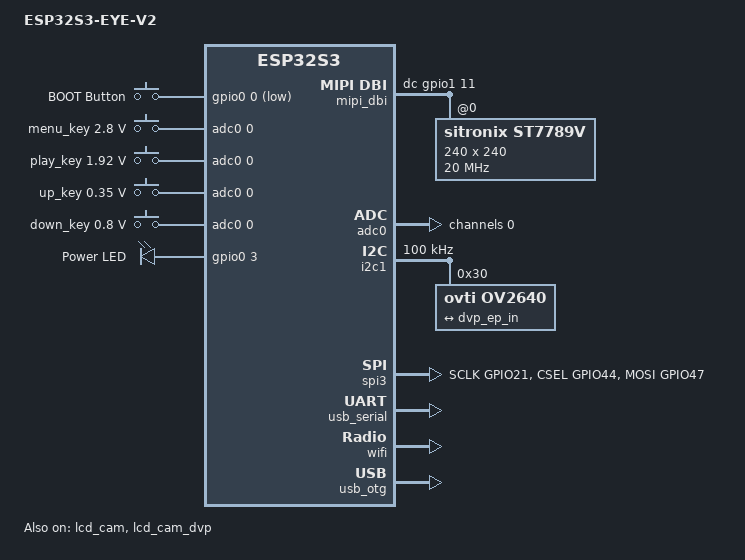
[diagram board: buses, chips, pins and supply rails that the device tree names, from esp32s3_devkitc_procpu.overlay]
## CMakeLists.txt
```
cmake_minimum_required(VERSION 3.20.0)

find_package(Zephyr REQUIRED HINTS $ENV{ZEPHYR_BASE})

project(zephyr-esp32-eye-board)

target_sources(app PRIVATE
    
    src/camera.c
    src/display.c
    src/events.c
    src/led.c
    src/main.c
    src/msgq.c
    src/sntp.c
    src/wifi.c
)

target_include_directories(app PRIVATE

)
```

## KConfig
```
mainmenu "Network Wi-Fi apsta_mode application"

config WIFI_SAMPLE_SSID "Apto_1404"
config WIFI_SAMPLE_PSK  "zurick1140"

source "Kconfig.zephyr"
```

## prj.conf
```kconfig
# ADC configuration
CONFIG_ADC=y
CONFIG_INPUT=y
CONFIG_INPUT_ADC_KEYS=y

# DMA configuration
CONFIG_DMA=y
CONFIG_DMA_ESP32_MAX_DESCRIPTOR_NUM=40

# Debug configuration
CONFIG_DEBUG=y
CONFIG_PRINTK=y
# CONFIG_SHELL=y
# CONFIG_KERNEL_SHELL=y
# CONFIG_SHELL_STACK_SIZE=3072

# Display configuration
CONFIG_DISPLAY=y
CONFIG_ST7789V=y
CONFIG_MIPI_DBI=y
CONFIG_SPI=y

# DNS configuration
CONFIG_DNS_RESOLVER=y
CONFIG_DNS_SERVER_IP_ADDRESSES=y
CONFIG_DNS_SERVER1="8.8.8.8"
CONFIG_DNS_SERVER2="1.1.1.1"
CONFIG_DNS_NUM_CONCUR_QUERIES=3

# Events configuration
CONFIG_EVENTS=y

# GPIO configuration
CONFIG_GPIO=y

# I2C configuration
CONFIG_I2C=y

# Heap configuration
CONFIG_HEAP_MEM_POOL_SIZE=56384

# Log configuration
CONFIG_LOG=y
CONFIG_LOG_DEFAULT_LEVEL=3

# LVGL configuration
CONFIG_LVGL=y
CONFIG_LV_USE_LABEL=y
CONFIG_LV_USE_ARC=y
CONFIG_LV_FONT_MONTSERRAT_16=y
CONFIG_LV_Z_MEM_POOL_SIZE=16384
CONFIG_LV_Z_VDB_SIZE=10

# Network configuration
CONFIG_NETWORKING=y
CONFIG_NET_CONFIG_AUTO_INIT=n
CONFIG_NET_CONNECTION_MANAGER=y
CONFIG_NET_DHCPV4=y
CONFIG_NET_IF_MAX_IPV4_COUNT=2
CONFIG_NET_IF_MAX_IPV6_COUNT=2
CONFIG_NET_IPV4=y
CONFIG_NET_L2_WIFI_MGMT=y
CONFIG_NET_MGMT=y
CONFIG_NET_MGMT_EVENT=y
CONFIG_NET_MGMT_EVENT_INFO=y
CONFIG_NET_MGMT_EVENT_QUEUE_SIZE=4
CONFIG_NET_MGMT_EVENT_STACK_SIZE=4096
CONFIG_NET_PKT_RX_COUNT=8
CONFIG_NET_PKT_TX_COUNT=8
CONFIG_NET_SOCKETS=y
CONFIG_NET_SOCKETS_SERVICE_STACK_SIZE=2048
CONFIG_NET_UDP=y
CONFIG_NET_TCP=y
CONFIG_NET_TCP_WORKQ_STACK_SIZE=1024     

# SPIRAM configuration
CONFIG_ESP_SPIRAM=y
CONFIG_SHARED_MULTI_HEAP=y
CONFIG_SPIRAM_MODE_OCT=y
CONFIG_SPIRAM_SPEED_80M=y
CONFIG_ESP32S3_DATA_CACHE_64KB=y
CONFIG_ESP_SPIRAM_MEMTEST=y
CONFIG_ESP32_WIFI_NET_ALLOC_SPIRAM=y
CONFIG_ESP_WIFI_HEAP_SPIRAM=y
CONFIG_ESP32_WIFI_NET_ALLOC_SPIRAM=y
CONFIG_SPIRAM_TRY_ALLOCATE_WIFI_LWIP=y

# SNTP configuration
CONFIG_SNTP=y
CONFIG_POSIX_API=y

# UART configuration
CONFIG_CONSOLE=y
CONFIG_UART_CONSOLE=y
CONFIG_SERIAL=y

# Video configuration
CONFIG_VIDEO=y
CONFIG_VIDEO_OV2640=y
CONFIG_VIDEO_BUFFER_POOL_ALIGN=32
CONFIG_VIDEO_BUFFER_POOL_NUM_MAX=1
CONFIG_VIDEO_BUFFER_POOL_HEAP_SIZE=159744

# WiFi configuration
CONFIG_WIFI=y
CONFIG_WIFI_NM=y
CONFIG_WIFI_USAGE_MODE_STA=y
```

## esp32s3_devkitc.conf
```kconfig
CONFIG_ESP32_WIFI_STA_AUTO_DHCPV4=y
CONFIG_ESP_WIFI_HEAP_SYSTEM=y
```

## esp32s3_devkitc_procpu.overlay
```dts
#include <zephyr/dt-bindings/gpio/gpio.h>
#include <zephyr/dt-bindings/input/input-event-codes.h>
#include <zephyr/dt-bindings/adc/adc.h>
#include <zephyr/dt-bindings/mipi_dbi/mipi_dbi.h>
#include <zephyr/dt-bindings/display/panel.h>
#include <zephyr/dt-bindings/i2c/i2c.h>
#include <dt-bindings/pinctrl/esp32s3-pinctrl.h>

/ {

	model = "ESP32S3-EYE-V2";
    compatible = "espressif,esp32s3";

	aliases {
		led0 = &power_led;
		sw0  = &boot_button;
	};

	chosen {
		zephyr,sram = &sram1;
		zephyr,console = &usb_serial;
		zephyr,shell-uart = &usb_serial;
		zephyr,flash = &flash0;
		zephyr,code-partition = &slot0_partition;
		zephyr,display = &st7789v;
		zephyr,camera = &lcd_cam_dvp;
	};


	buttons {
		compatible = "gpio-keys";
		boot_button: button_0 {
			gpios = <&gpio0 0 (GPIO_PULL_UP | GPIO_ACTIVE_LOW)>;
			label = "BOOT Button";
		};
	};

	adc_keys: adc-keys {
		compatible = "adc-keys";
		io-channels = <&adc0 0>;
		keyup-threshold-mv = <3300>;
		sample-period-ms = <50>;

		menu_key: key_menu {
			press-thresholds-mv = <2800>;
			zephyr,code = <INPUT_KEY_MENU>;
		};
		play_key: key_play {
			press-thresholds-mv = <1920>;
			zephyr,code = <INPUT_KEY_PLAY>;
		};
		up_key: key_up {
			press-thresholds-mv = <350>;
			zephyr,code = <INPUT_KEY_UP>;
		};
		down_key: key_down {
			press-thresholds-mv = <800>;
			zephyr,code = <INPUT_KEY_DOWN>;
		};
	};

	leds {
		compatible = "gpio-leds";
		power_led: led_0 {
			/* GPIO3 must be open-drain — driving high will burn the LED */
			gpios = <&gpio0 3 GPIO_OPEN_DRAIN>;
			label = "Power LED";
		};
	};
	
	mipi_dbi {
		compatible = "zephyr,mipi-dbi-spi";
		dc-gpios = <&gpio1 11 GPIO_ACTIVE_HIGH>;
		spi-dev = <&spi3>;
		write-only;
		#address-cells = <1>;
		#size-cells = <0>;

		st7789v: st7789v@0 {
			compatible = "sitronix,st7789v";
			mipi-max-frequency = <20000000>;
			reg = <0>;
			width = <240>;
			height = <240>;
			x-offset = <0>;
			y-offset = <0>;
			vcom = <0x19>;
			gctrl = <0x35>;
			vrhs = <0x12>;
			vdvs = <0x20>;
			mdac = <0x00>;
			gamma = <0x01>;
			pixel-format = <PANEL_PIXEL_FORMAT_RGB_565>;
			lcm = <0x2c>;
			porch-param = [0c 0c 00 33 33];
			cmd2en-param = [5a 69 02 01];
			pwctrl1-param = [a4 a1];
			pvgam-param = [d0 04 0d 11 13 2b 3f 54 4c 18 0d 0b 1f 23];
			nvgam-param = [d0 04 0c 11 13 2c 3f 44 51 2f 1f 1f 20 23];
			ram-param = [00 f0];
			rgb-param = [cd 08 14];
			mipi-mode = "MIPI_DBI_MODE_SPI_4WIRE";
		};
	};
};

&adc0 {
	status = "okay";
	#address-cells = <1>;
	#size-cells = <0>;

	/* GPIO1 = ADC1_CH0 — resistor ladder for function keys */
	channel@0 {
		reg = <0>;
		zephyr,gain             = "ADC_GAIN_1_4";
		zephyr,reference        = "ADC_REF_INTERNAL";
		zephyr,acquisition-time = <ADC_ACQ_TIME_DEFAULT>;
		zephyr,resolution       = <12>;
	};
};

&dma {
	status = "okay";
};

&gpio0 { 
	status = "okay"; 
};  

&gpio1 { 
	status = "okay"; 
};  

&i2c1 {
	status = "okay";
	clock-frequency = <I2C_BITRATE_STANDARD>;
	pinctrl-0 = <&i2c1_default>;
	pinctrl-names = "default";

	ov2640: ov2640@30 {
		compatible = "ovti,ov2640";
		reg = <0x30>;
		status = "okay";
		clock-rate-control = <0x80>;

		port {
			ov2640_ep_out: endpoint {
				remote-endpoint = <&dvp_ep_in>;
			};
		};
	};
};

&lcd_cam {
	status = "okay";
	pinctrl-0 = <&lcd_cam_default>;
	pinctrl-names = "default";
};

&lcd_cam_dvp {
	status = "okay";
	cam-clk = <10000000>;
	source = <&ov2640>;

	port {
		dvp_ep_in: endpoint {
			remote-endpoint = <&ov2640_ep_out>;
		};
	};
};

&pinctrl {
	i2c1_default: i2c1_default {
		group1 {
			pinmux = <I2C1_SDA_GPIO4>,
				 <I2C1_SCL_GPIO5>;
			bias-pull-up;
			drive-open-drain;
			output-high;
		};
	};

	spim3_default: spim3_default {
		group1 {
			pinmux = <SPIM3_SCLK_GPIO21>,
				 <SPIM3_CSEL_GPIO44>;
		};

		group2 {
			pinmux = <SPIM3_MOSI_GPIO47>;
			output-low;
		};
	};

	lcd_cam_default: lcd_cam_default {
		group1 {
			pinmux = <LCD_CAM_CAM_CLK_GPIO15>;
			output-enable;
		};

		group2 {
			pinmux = <LCD_CAM_V_SYNC_CAM_GPIO6>,
				 <LCD_CAM_H_ENABLE_CAM_GPIO7>,
				 <LCD_CAM_CAM_PCLK_GPIO13>,
				 <LCD_CAM_DATA_IN0_GPIO11>,
				 <LCD_CAM_DATA_IN1_GPIO9>,
				 <LCD_CAM_DATA_IN2_GPIO8>,
				 <LCD_CAM_DATA_IN3_GPIO10>,
				 <LCD_CAM_DATA_IN4_GPIO12>,
				 <LCD_CAM_DATA_IN5_GPIO18>,
				 <LCD_CAM_DATA_IN6_GPIO17>,
				 <LCD_CAM_DATA_IN7_GPIO16>;
			input-enable;
			bias-disable;
		};
	};

	sdhc0_default: sdhc0_default {
		group1 {
			pinmux = <SDHC0_CMD_GPIO38>,
				 <SDHC0_CLKOUT_GPIO39>,
				 <SDHC0_DATA0_GPIO40>;
			bias-pull-up;
			output-high;
		};
	};
};

&psram0 {
  size = <DT_SIZE_M(8)>;
};

&spi3 {                        
    status = "okay";
    #address-cells = <1>;
    #size-cells = <0>;
    pinctrl-0 = <&spim3_default>;
    pinctrl-names = "default";
};

&uart0 {
	status = "disabled";
};

&usb_serial {
	status = "okay";
};

&wifi {
    status = "okay";
};

zephyr_udc0: &usb_otg {
	status = "okay";
};
```

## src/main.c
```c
#include <zephyr/kernel.h>
#include <zephyr/drivers/gpio.h>
#include <zephyr/input/input.h>
#include <zephyr/logging/log.h>

#include "led.h"

static void on_key_event(struct input_event *evt, void *user_data);

LOG_MODULE_REGISTER(main, LOG_LEVEL_INF);

INPUT_CALLBACK_DEFINE(DEVICE_DT_GET(DT_NODELABEL(adc_keys)), on_key_event, NULL);

int main(void){

	LOG_INF("ESP32-S3-EYE started");
    
    led_init();

    while(1){

		k_sleep(K_SECONDS(1));
	}

	return 0;
}

static void on_key_event(struct input_event *evt, void *user_data){

    if (evt->type != INPUT_EV_KEY || evt->value == 0) {
        
        return; 
    }

    switch (evt->code) {
        
        case INPUT_KEY_MENU: 
            LOG_INF("MENU pressed");  
        break;
        
        case INPUT_KEY_PLAY: 
            LOG_INF("PLAY pressed");  
        break;
        
        case INPUT_KEY_UP:   
            LOG_INF("UP pressed");    
        break;
        
        case INPUT_KEY_DOWN: 
            LOG_INF("DOWN pressed");  
        break;
    }
}
```

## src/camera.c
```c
#include "camera.h"
#include <zephyr/device.h>
#include <zephyr/drivers/video.h>
#include <zephyr/drivers/video-controls.h>
#include <zephyr/logging/log.h>

LOG_MODULE_REGISTER(camera, LOG_LEVEL_INF);

/* Buffer na PSRAM */
static uint8_t __attribute__((section(".ext_ram.bss"), aligned(CONFIG_VIDEO_BUFFER_POOL_ALIGN))) psram_frame[MAX_FRAME_SIZE];

K_MSGQ_DEFINE(frame_queue, sizeof(struct frame_msg), 1, 4);

static struct video_format fmt = {};

const struct device *camera_init(){

    const struct device *video_dev;
    enum video_buf_type type = VIDEO_BUF_TYPE_OUTPUT;
    struct video_buffer *buffers[1];
    int i = 0;

    /* Starting the device */
    video_dev = DEVICE_DT_GET(DT_CHOSEN(zephyr_camera));
    if (!device_is_ready(video_dev)) {
        
        LOG_ERR("Camera not ready");
        return NULL;
    }
    LOG_INF("Camera: %s", video_dev->name);

    /* Configuring the format RGB565 320x240 */
	fmt.type = type;
	if (video_get_format(video_dev, &fmt)) {
		LOG_ERR("Unable to retrieve video format");
		return 0;
	}

    fmt.width = CAM_WIDTH;
	fmt.height = CAM_HEIGHT;
	fmt.pixelformat = VIDEO_PIX_FMT_RGB565;

    if (video_set_format(video_dev, &fmt)) {
		return 0;
	}

	LOG_INF("Format: %c%c%c%c %ux%u %u", (char)fmt.pixelformat, (char)(fmt.pixelformat >> 8),
		(char)(fmt.pixelformat >> 16), (char)(fmt.pixelformat >> 24), fmt.width, fmt.height,
		fmt.pitch);


    /* Allocating the video buffer */
    for (i = 0; i < ARRAY_SIZE(buffers); i++) {
		
        buffers[i] = video_buffer_aligned_alloc(fmt.size, CONFIG_VIDEO_BUFFER_POOL_ALIGN, K_NO_WAIT);
		
        if (buffers[i] == NULL) {
			LOG_ERR("Unable to alloc video buffer");
			return 0;
		}
		
        buffers[i]->type = type;
		video_enqueue(video_dev, buffers[i]);
	}

    if (video_stream_start(video_dev, type)) {
		LOG_ERR("Unable to start capture (interface)");
		return 0;
	}

    LOG_INF("Stream started");
    return video_dev;
}

void camera_thread(){

    const struct device *video_dev = camera_init();

    struct video_buffer *vbuf;

    struct frame_msg msg;

    struct video_control rotate_video_ctrl = {
        .id  = VIDEO_CID_VFLIP,
        .val = 1
    };
    video_set_ctrl(video_dev, &rotate_video_ctrl);

    while (1) {

        if (video_dequeue(video_dev, &vbuf, K_MSEC(1000))) {
            LOG_WRN("Timeout");
            continue;
        }

        memcpy(psram_frame, vbuf->buffer, vbuf->bytesused);

        vbuf->bytesused = 0;
        video_enqueue(video_dev, vbuf);

        // LOG_INF("Frame: %u bytes", vbuf->bytesused);

        video_enqueue(video_dev, vbuf);

        msg.data = psram_frame;
        msg.size = MAX_FRAME_SIZE;
        k_msgq_put(&frame_queue, &msg, K_NO_WAIT);
    }
}

static Z_KERNEL_STACK_DEFINE_IN(camera_stack, 4096, __attribute__((section(".ext_ram.bss"))));

static struct k_thread camera_thread_data;
k_tid_t camera_tid;

static int camera_thread_init(void){

    camera_tid = k_thread_create(
        &camera_thread_data,
        camera_stack,
        K_THREAD_STACK_SIZEOF(camera_stack),
        camera_thread,
        NULL, NULL, NULL,
        5, 0, K_NO_WAIT
    );

    k_thread_name_set(camera_tid, "camera_tid");

    return 0;
}

SYS_INIT(camera_thread_init, APPLICATION, CONFIG_APPLICATION_INIT_PRIORITY);
```

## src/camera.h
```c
#ifndef _CAMERA_H_
#define _CAMERA_H_

#include <zephyr/kernel.h>

#define CAM_WIDTH   320
#define CAM_HEIGHT  240
#define MAX_FRAME_SIZE (CAM_WIDTH * CAM_HEIGHT * 2)

struct frame_msg {

    uint8_t *data;   
    size_t size;
};

extern struct k_msgq frame_queue;

#endif
```

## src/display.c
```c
#include <zephyr/drivers/display.h>
#include <zephyr/logging/log.h>
#include <lvgl.h>

#include "camera.h"
#include "events.h"
#include "msgq.h"
#include "sntp.h"

LOG_MODULE_REGISTER(display, LOG_LEVEL_INF);

static uint8_t __attribute__((section(".ext_ram.bss"), aligned(CONFIG_VIDEO_BUFFER_POOL_ALIGN))) canvas_buf[CAM_WIDTH * CAM_HEIGHT * 2];

static const struct device *display;
static struct display_capabilities caps;

static lv_obj_t *canvas;
static lv_obj_t *status_bar;
static lv_obj_t *time_label;
static lv_obj_t *wifi_icon;
static lv_obj_t *ssid_label;

static struct k_timer timer_update;

static void ui_init();
static void ui_set_wifi();
static void ui_set_time(uint8_t hour, uint8_t minute, uint8_t second);

static void timer_update_handler(struct k_timer *timer);

void display_thread(){

    struct frame_msg msg;

    ui_init();
    
    k_timer_init(&timer_update, timer_update_handler, NULL);
    k_timer_start(&timer_update, K_SECONDS(1), K_SECONDS(1));

    while(1){
        
        ui_set_wifi();

        uint32_t events = k_event_wait(&app_events, EVENT_SNTP_SYNCED | EVENT_TIME_UPDATE, false, K_NO_WAIT);

        if((events & EVENT_SNTP_SYNCED) && (events & EVENT_TIME_UPDATE)){

            sntp_msg_t msg = sntp_get_current_time();
            ui_set_time(msg.hour, msg.min, msg.sec);

            k_event_clear(&app_events, EVENT_TIME_UPDATE);
        }

        if (!k_msgq_get(&frame_queue, &msg, K_NO_WAIT)) {

            LOG_INF("Camera frame received: %u bytes", msg.size);

            /* Cria canvas uma única vez */
            if (canvas == NULL) {
                canvas = lv_canvas_create(lv_scr_act());
                lv_canvas_set_buffer(canvas, canvas_buf,
                                    CAM_WIDTH, CAM_HEIGHT,
                                    LV_COLOR_FORMAT_RGB565);
                lv_obj_align_to(canvas, status_bar, LV_ALIGN_OUT_BOTTOM_MID, 0,
                (216 - CAM_HEIGHT) / 2);  /* centraliza no espaço restante */
            }

            memcpy(canvas_buf, msg.data, msg.size);
            lv_obj_invalidate(canvas);
            
        }

        lv_task_handler();        

        k_msleep(10);
    }
}

static void ui_init(){

    display = DEVICE_DT_GET(DT_CHOSEN(zephyr_display));

    if (!device_is_ready(display)) {
        
        LOG_ERR("Display not found: %s", display->name);
        return;
    }

    display_get_capabilities(display, &caps);
    
    LOG_INF("Device name: %s", display->name);
    LOG_INF("Resolution: %dx%d", caps.x_resolution, caps.y_resolution);

    display_blanking_off(display);

    /* Background */
    lv_obj_set_style_bg_color(lv_scr_act(), lv_color_hex(0xFFFFFF), LV_PART_MAIN);
    lv_obj_set_style_bg_opa(lv_scr_act(), LV_OPA_COVER, LV_PART_MAIN);

    /* Status bar */
    status_bar = lv_obj_create(lv_scr_act());
    lv_obj_set_size(status_bar, 240, 24);
    lv_obj_align(status_bar, LV_ALIGN_TOP_MID, 0, 0);
    lv_obj_set_style_bg_color(status_bar, lv_color_hex(0x000000), LV_PART_MAIN);
    lv_obj_set_style_bg_opa(status_bar, LV_OPA_COVER, LV_PART_MAIN);
    lv_obj_set_style_border_width(status_bar, 0, LV_PART_MAIN);
    lv_obj_set_style_radius(status_bar, 0, LV_PART_MAIN);
    lv_obj_set_style_pad_all(status_bar, 0, LV_PART_MAIN);

    /* Hora — esquerda */
    time_label = lv_label_create(status_bar);
    lv_obj_set_style_text_color(time_label, lv_color_hex(0xFFFFFF), LV_PART_MAIN);
    lv_obj_set_style_text_font(time_label, &lv_font_montserrat_16, LV_PART_MAIN);
    lv_obj_align(time_label, LV_ALIGN_LEFT_MID, 6, 0);
    lv_label_set_text(time_label, "");

    /* Ícone WiFi — direita */
    wifi_icon = lv_label_create(status_bar);
    lv_obj_set_style_text_color(wifi_icon, lv_color_hex(0x000000), LV_PART_MAIN);
    lv_obj_set_style_text_font(wifi_icon, &lv_font_montserrat_16, LV_PART_MAIN);
    lv_obj_align(wifi_icon, LV_ALIGN_RIGHT_MID, -6, 0);
    lv_label_set_text(wifi_icon, LV_SYMBOL_WIFI);

    /* Nome da rede — ao lado do ícone */
    ssid_label = lv_label_create(status_bar);
    lv_obj_set_style_text_color(ssid_label, lv_color_hex(0xFFFFFF), LV_PART_MAIN);
    lv_obj_set_style_text_font(ssid_label, &lv_font_montserrat_16, LV_PART_MAIN);
    lv_obj_align_to(ssid_label, wifi_icon, LV_ALIGN_OUT_LEFT_MID, -4, 0);
    lv_label_set_text(ssid_label, "");
}

void ui_set_wifi(){

    wifi_msg_t wifi_msg;

    if(k_msgq_get(&wifi_msgq, &wifi_msg, K_NO_WAIT) == 0){

        if(wifi_msg.type == WIFI_MSG_CONNECTED){

            lv_obj_set_style_text_color(wifi_icon, lv_color_hex(0xFFFFFF), LV_PART_MAIN);  
            lv_obj_set_style_text_color(ssid_label, lv_color_hex(0xFFFFFF), LV_PART_MAIN);
            lv_label_set_text(ssid_label, wifi_msg.ssid);
            
        } else {

            lv_obj_set_style_text_color(wifi_icon, lv_color_hex(0x000000), LV_PART_MAIN);  
            lv_obj_set_style_text_color(ssid_label, lv_color_hex(0x000000), LV_PART_MAIN);
            lv_label_set_text(ssid_label, "");
        }
    }

    lv_obj_align_to(ssid_label, wifi_icon, LV_ALIGN_OUT_LEFT_MID, -4, 0);
}

static void ui_set_time(uint8_t hour, uint8_t min, uint8_t second){

    char buf[14];
    
    snprintf(buf, sizeof(buf), "%02d:%02d:%02d", hour, min, second);
    
    lv_label_set_text(time_label, buf);
}

static void timer_update_handler(struct k_timer *timer){

    k_event_post(&app_events, EVENT_TIME_UPDATE);
}

static Z_KERNEL_STACK_DEFINE_IN(display_stack, 8192, __attribute__((section(".ext_ram.bss"))));

static struct k_thread display_thread_data;
k_tid_t display_tid;

static int display_thread_init(void){
    
    display_tid = k_thread_create(
        &display_thread_data,
        display_stack,
        K_THREAD_STACK_SIZEOF(display_stack),
        display_thread,
        NULL, NULL, NULL,
        8, 0, K_NO_WAIT
    );
    k_thread_name_set(display_tid, "display_tid");
    return 0;
}

SYS_INIT(display_thread_init, APPLICATION, CONFIG_APPLICATION_INIT_PRIORITY);
```

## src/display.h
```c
#ifndef _DISPLAY_H_
#define _DISPLAY_H_

void display_thread();

#endif
```

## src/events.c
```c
#include "events.h"

K_EVENT_DEFINE(app_events);
```

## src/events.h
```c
#ifndef _EVENTS_H_
#define _EVENTS_H_

#include <zephyr/kernel.h>

#define EVENT_SNTP_SYNCED       BIT(0)
#define EVENT_TIME_UPDATE       BIT(1)

extern struct k_event app_events;

#endif
```

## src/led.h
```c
#ifndef _LED_H_
#define _LED_H_

#include <zephyr/kernel.h>
#include <zephyr/drivers/gpio.h>
#include <zephyr/logging/log.h>

int led_init(void);

void led_off(void);

void led_on(void);

void led_toggle(void);

#endif
```

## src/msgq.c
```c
#include "msgq.h"

K_MSGQ_DEFINE(wifi_msgq, sizeof(wifi_msg_t), 4, 4);
```

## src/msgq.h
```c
#ifndef _MSGQ_H_
#define _MSGQ_H_

#define WIFI_SSID_MAX 33

#include <zephyr/kernel.h> 

typedef enum {
    
    WIFI_MSG_CONNECTED,
    WIFI_MSG_DISCONNECTED,

} wifi_msg_type_t;

typedef struct {
    
    wifi_msg_type_t type;
    char ssid[WIFI_SSID_MAX];

} wifi_msg_t;

extern struct k_msgq wifi_msgq;

#endif
```

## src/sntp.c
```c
#include "sntp.h"

#include <zephyr/logging/log.h>

#include <time.h>

#include "events.h"

LOG_MODULE_REGISTER(sntp, LOG_LEVEL_INF);

void sntp_sync_time(void){

    struct sntp_time sntp_time;
    int ret;

    LOG_INF("Sntp sync started");

    ret = sntp_simple("pool.ntp.org", 10000, &sntp_time);

    if (ret != 0) {

        LOG_WRN("DNS failed, trying again..");

        ret = sntp_simple("200.160.7.186", 10000, &sntp_time);
    }

    if (ret != 0) {

        LOG_ERR("SNTP failed: %d", ret);

        return;  
    }

    struct timespec ts = {

        .tv_sec  = (time_t)(sntp_time.seconds) + UTC_OFFSET_SECONDS,
        .tv_nsec = 0,
    };

    clock_settime(CLOCK_REALTIME, &ts);

    struct tm tm_info;
    gmtime_r(&ts.tv_sec, &tm_info);

    k_event_post(&app_events, EVENT_SNTP_SYNCED);

    char time_str[72];
    snprintf(time_str, sizeof(time_str), "%02d:%02d:%02d %02d/%02d/%04d", tm_info.tm_hour, tm_info.tm_min, tm_info.tm_sec, tm_info.tm_mday, tm_info.tm_mon + 1, tm_info.tm_year + 1900);
    
    LOG_INF("Sntp synchronized: %s", time_str);    
    
    return;
}

sntp_msg_t sntp_get_current_time(){

    sntp_msg_t msg;

    struct timespec ts;
    
    clock_gettime(CLOCK_REALTIME, &ts);

    struct tm *t = gmtime(&ts.tv_sec);
    msg.hour = t->tm_hour;
    msg.min = t->tm_min;
    msg.sec = t->tm_sec;

    return msg;
}
```

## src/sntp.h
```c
#ifndef _SNTP_H_
#define _SNTP_H_

#include <zephyr/net/sntp.h>

#define UTC_OFFSET_SECONDS  (-3 * 3600)  /* UTC-3 */

typedef struct {

    uint8_t hour;
    uint8_t min;
    uint8_t sec;

} sntp_msg_t;

void sntp_sync_time();

sntp_msg_t sntp_get_current_time();

#endif
```

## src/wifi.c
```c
#include <zephyr/kernel.h>
#include <zephyr/net/wifi_mgmt.h>
#include <zephyr/logging/log.h>

#include "msgq.h"
#include "sntp.h"

#define WIFI_SSID       "Apto_1404"
#define WIFI_PASSWORD   "zurick1140"

#define NET_EVENT_WIFI_MASK (NET_EVENT_WIFI_SCAN_RESULT | NET_EVENT_WIFI_SCAN_DONE | \
                             NET_EVENT_WIFI_CONNECT_RESULT | NET_EVENT_WIFI_DISCONNECT_RESULT | \
                             NET_EVENT_WIFI_AP_STA_CONNECTED | NET_EVENT_WIFI_AP_STA_DISCONNECTED | \
                             NET_EVENT_IPV4_DHCP_BOUND)

LOG_MODULE_REGISTER(wifi, LOG_LEVEL_INF);

static struct net_if *iface;

static struct wifi_connect_req_params sta_config;

static struct net_mgmt_event_callback wifi_cb;
static struct net_mgmt_event_callback ipv4_cb;

static void wifi_event_handler(struct net_mgmt_event_callback *cb, uint64_t mgmt_event, struct net_if *iface){

    if(mgmt_event == NET_EVENT_WIFI_SCAN_RESULT){

        const struct wifi_scan_result *result = (const struct wifi_scan_result *)cb->info;

        LOG_INF("SSID: %-32s RSSI: %d", result->ssid, result->rssi);

        k_msleep(10);

    } else if (mgmt_event == NET_EVENT_WIFI_DISCONNECT_RESULT) {

    
    } else if(mgmt_event == NET_EVENT_WIFI_SCAN_DONE){

        LOG_INF("Scan Finished");
    
    } else if(mgmt_event == NET_EVENT_WIFI_CONNECT_RESULT){

        struct wifi_iface_status status = {0};

        net_mgmt(NET_REQUEST_WIFI_IFACE_STATUS, iface, &status, sizeof(status));

        k_msleep(50);
        LOG_INF("Connected: %s", status.ssid);
        k_msleep(50);
        LOG_INF("BSSID: %02x:%02x:%02x:%02x:%02x:%02x", status.bssid[0], status.bssid[1], status.bssid[2], status.bssid[3], status.bssid[4], status.bssid[5]);
        k_msleep(50);        
    }
}

static void ipv4_event_handler(struct net_mgmt_event_callback *cb, uint64_t mgmt_event, struct net_if *iface){

    if (mgmt_event == NET_EVENT_IPV4_DHCP_BOUND) {

        struct net_if_ipv4 *ipv4 = iface->config.ip.ipv4;
        char ip_str[NET_IPV4_ADDR_LEN] = {};
        
        struct wifi_iface_status status = {};
        char buffer_ssid[WIFI_SSID_MAX] = {};

        wifi_msg_t msg = {};
        
        net_addr_ntop(AF_INET, &ipv4->unicast[0].ipv4.address.in_addr, ip_str, sizeof(ip_str));
        LOG_INF("IP received: %s", ip_str);
        k_msleep(100);

        net_mgmt(NET_REQUEST_WIFI_IFACE_STATUS, iface, &status, sizeof(status));
        strncpy(buffer_ssid, status.ssid, WIFI_SSID_MAX - 1);
        buffer_ssid[WIFI_SSID_MAX - 1] = '\0';

        msg.type = WIFI_MSG_CONNECTED;
        strcpy(msg.ssid, buffer_ssid);

        k_msgq_put(&wifi_msgq, &msg, K_NO_WAIT);
            
        k_msleep(100);
        sntp_sync_time();
    }
}

void wifi_connect(char *ssid, char *password){

	sta_config.ssid = (const uint8_t *)ssid;
	sta_config.ssid_length = strlen(ssid);
	sta_config.psk = (const uint8_t *)password;
	sta_config.psk_length = strlen(password);
	sta_config.security = WIFI_SECURITY_TYPE_PSK;
	sta_config.channel = WIFI_CHANNEL_ANY;
	sta_config.band = WIFI_FREQ_BAND_2_4_GHZ;

	LOG_INF("Connecting to SSID: %s\n", sta_config.ssid);

	int ret = net_mgmt(NET_REQUEST_WIFI_CONNECT, iface, &sta_config, sizeof(struct wifi_connect_req_params));
	
    if (ret) {
	
        LOG_ERR("Unable to Connect to (%s)", ssid);
	}
}

void wifi_thread(){

    LOG_INF("Wifi started");

    net_mgmt_init_event_callback(&wifi_cb, wifi_event_handler, NET_EVENT_WIFI_MASK);
	net_mgmt_add_event_callback(&wifi_cb);

    net_mgmt_init_event_callback(&ipv4_cb, ipv4_event_handler, NET_EVENT_IPV4_DHCP_BOUND);
    net_mgmt_add_event_callback(&ipv4_cb);

    iface = net_if_get_wifi_sta();

    // net_mgmt(NET_REQUEST_WIFI_SCAN, iface, NULL, 0);

    wifi_connect(WIFI_SSID, WIFI_PASSWORD);

    while(1){


        k_sleep(K_SECONDS(1));
    }
}

static Z_KERNEL_STACK_DEFINE_IN(wifi_stack, 4096, __attribute__((section(".ext_ram.bss"))));

static struct k_thread wifi_thread_data;
k_tid_t wifi_tid;

static int wifi_thread_init(void){
    
    wifi_tid = k_thread_create(
        &wifi_thread_data,
        wifi_stack,
        K_THREAD_STACK_SIZEOF(wifi_stack),
        wifi_thread,
        NULL, NULL, NULL,
        7, 0, K_NO_WAIT
    );
    k_thread_name_set(wifi_tid, "wifi_tid");
    return 0;
}

SYS_INIT(wifi_thread_init, APPLICATION, CONFIG_APPLICATION_INIT_PRIORITY);
```
